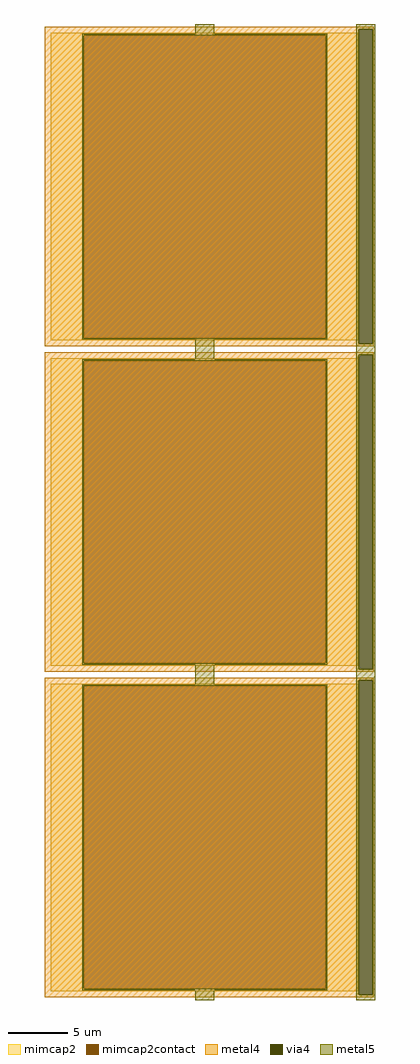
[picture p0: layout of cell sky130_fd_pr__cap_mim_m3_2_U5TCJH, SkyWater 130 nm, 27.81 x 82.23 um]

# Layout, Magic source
magic
tech sky130A
magscale 1 2
<< metal4 >>
rect -2770 8132 2770 8173
rect -2770 2832 2514 8132
rect 2750 2832 2770 8132
rect -2770 2791 2770 2832
rect -2770 2650 2770 2691
rect -2770 -2650 2514 2650
rect 2750 -2650 2770 2650
rect -2770 -2691 2770 -2650
rect -2770 -2832 2770 -2791
rect -2770 -8132 2514 -2832
rect 2750 -8132 2770 -2832
rect -2770 -8173 2770 -8132
<< via4 >>
rect 2514 2832 2750 8132
rect 2514 -2650 2750 2650
rect 2514 -8132 2750 -2832
<< mimcap2 >>
rect -2670 8033 2512 8073
rect -2670 2931 -2120 8033
rect 1962 2931 2512 8033
rect -2670 2891 2512 2931
rect -2670 2551 2512 2591
rect -2670 -2551 -2120 2551
rect 1962 -2551 2512 2551
rect -2670 -2591 2512 -2551
rect -2670 -2931 2512 -2891
rect -2670 -8033 -2120 -2931
rect 1962 -8033 2512 -2931
rect -2670 -8073 2512 -8033
<< mimcap2contact >>
rect -2120 2931 1962 8033
rect -2120 -2551 1962 2551
rect -2120 -8033 1962 -2931
<< metal5 >>
rect -239 8057 81 8223
rect 2472 8132 2792 8223
rect -2144 8033 1986 8057
rect -2144 2931 -2120 8033
rect 1962 2931 1986 8033
rect -2144 2907 1986 2931
rect -239 2575 81 2907
rect 2472 2832 2514 8132
rect 2750 2832 2792 8132
rect 2472 2650 2792 2832
rect -2144 2551 1986 2575
rect -2144 -2551 -2120 2551
rect 1962 -2551 1986 2551
rect -2144 -2575 1986 -2551
rect -239 -2907 81 -2575
rect 2472 -2650 2514 2650
rect 2750 -2650 2792 2650
rect 2472 -2832 2792 -2650
rect -2144 -2931 1986 -2907
rect -2144 -8033 -2120 -2931
rect 1962 -8033 1986 -2931
rect -2144 -8057 1986 -8033
rect -239 -8223 81 -8057
rect 2472 -8132 2514 -2832
rect 2750 -8132 2792 -2832
rect 2472 -8223 2792 -8132
<< properties >>
string FIXED_BBOX -2770 2791 2612 8173
string gencell sky130_fd_pr__cap_mim_m3_2
string library sky130
string parameters w 25.911 l 25.911 val 1.362k carea 2.00 cperi 0.19 nx 1 ny 3 dummy 0 square 0 lmin 2.00 wmin 2.00 lmax 30.0 wmax 30.0 dc 0 bconnect 1 tconnect 1 ccov 80
<< end >>
